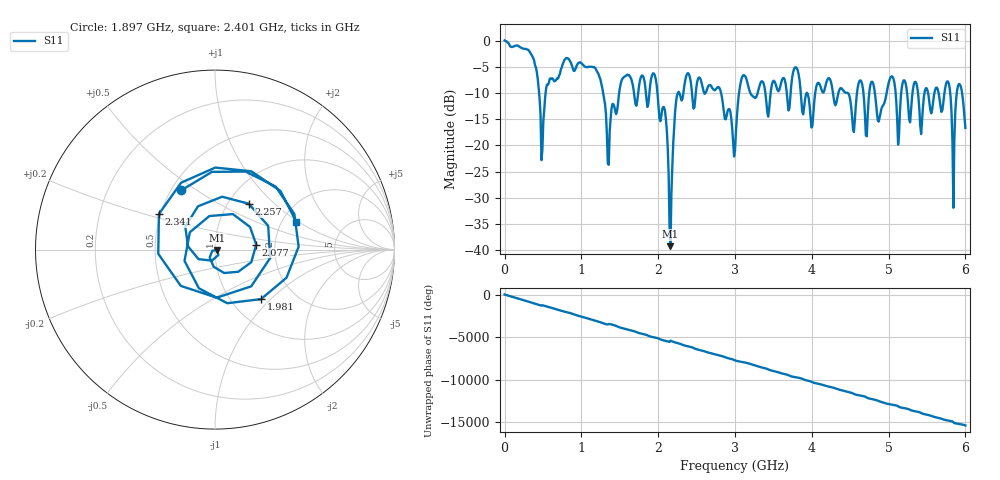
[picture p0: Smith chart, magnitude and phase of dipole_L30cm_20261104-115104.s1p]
! Dipole length 30 cm, measured 20261104-115104
# GHZ S RI R 50.000000000000
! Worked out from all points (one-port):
!   501 points, 1 MHz to 6 GHz, reference 50 ohm
!   lowest |S11| = -39.2 dB at 2.161 GHz (marker M1), VSWR 1.02, Z = 51.1 - j0.143 ohm
!   |S11| at or under -10 dB: 1.284 GHz to 1.492 GHz (208.2 MHz wide, 15 % of centre); 1.991 GHz to 2.256 GHz (265.1 MHz wide, 12.5 % of centre); 2.819 GHz to 3.053 GHz (234 MHz wide, 7.97 % of centre)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
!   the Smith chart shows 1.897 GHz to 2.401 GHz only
!   S11 on the Smith chart (normalised r, x): 1.897 GHz: 0.56, +0.43; 1.981 GHz: 1.36, -0.88; 2.077 GHz: 1.59, +0.09; 2.257 GHz: 1.24, +0.71; 2.341 GHz: 0.49, +0.23; 2.401 GHz: 2.39, +0.95
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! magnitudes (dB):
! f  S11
! 1 MHz  0.0
! 360.9 MHz  -3.0
! 492.9 MHz  -20.8
! 564.9 MHz  -8.4
! 756.9 MHz  -4.5
! 1.201 GHz  -5.8
! 1.357 GHz  -23.7
! 1.501 GHz  -9.1
! 1.897 GHz  -8.4
! 1.981 GHz  -8.5
! 2.077 GHz  -12.7
! 2.161 GHz  -39.2
! 2.257 GHz  -10.0
! 2.341 GHz  -8.6
! 2.401 GHz  -6.4
! 2.797 GHz  -9.0
! 3.001 GHz  -21.0
! 3.108 GHz  -6.6
! 3.432 GHz  -14.5
! 3.756 GHz  -6.1
! 3.996 GHz  -16.6
! 4.212 GHz  -7.2
! 4.5 GHz  -11.2
! 5.256 GHz  -12.6
! 5.772 GHz  -7.8
! 5.844 GHz  -31.9
! 5.928 GHz  -8.4
! 6 GHz  -16.7
